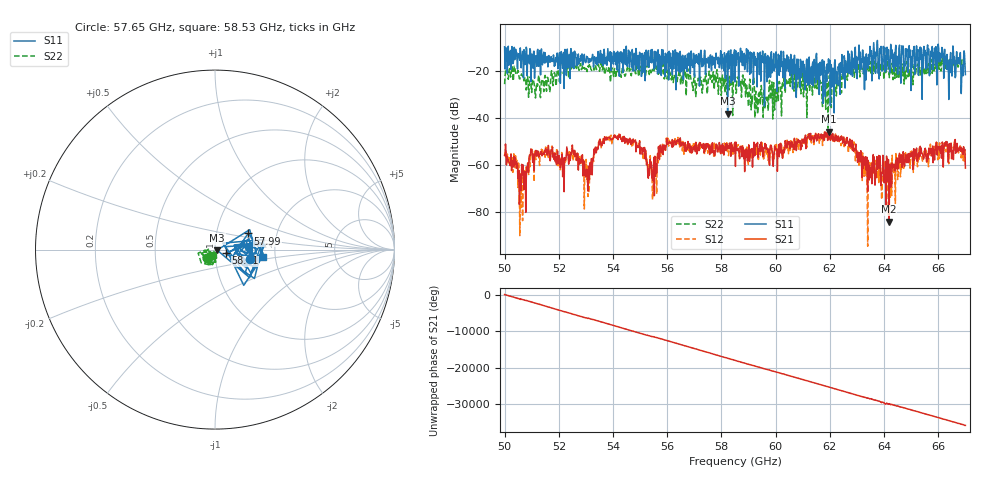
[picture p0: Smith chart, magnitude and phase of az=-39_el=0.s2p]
!Created with skrf (http://scikit-rf.org).
# GHz S RI R 50.0
!freq ReS11 ImS11 ReS21 ImS21 ReS12 ImS12 ReS22 ImS22
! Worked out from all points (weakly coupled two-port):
!   1001 points, 50 GHz to 67 GHz, reference 50 ohm
!   highest |S21| = -45.77 dB at 61.95 GHz (marker M1); lowest = -83.9 dB at 64.18 GHz (marker M2)
!   lowest |S11| = -38.1 dB at 58.23 GHz (marker M3), VSWR 1.03, Z = 51.2 - j0.29 ohm
!   |S11| at or under -10 dB: 50.8 GHz to 54.49 GHz (3.686 GHz wide, 7 % of centre); 54.49 GHz to 62.94 GHz (8.447 GHz wide, 14.4 % of centre); 66.01 GHz to 66.54 GHz (528.9 MHz wide, 0.798 % of centre) (the widest 3 of 29)
!   |S22| runs from -46.5 to -14.0 dB; largest |S21 - S12| = 0.0025
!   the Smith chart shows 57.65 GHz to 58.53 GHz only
!   S11 on the Smith chart (normalised r, x): 57.65 GHz: 1.48, -0.15; 57.99 GHz: 1.42, +0.27; 58.41 GHz: 1.13, -0.05; 58.53 GHz: 1.71, -0.15
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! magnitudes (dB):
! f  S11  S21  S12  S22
! 50 GHz  -9.7  -55.8  -55.9  -25.6
! 50.63 GHz  -13.5  -59.6  -65.4  -21.3
! 51.48 GHz  -14.5  -53.7  -54.3  -22.5
! 52.84 GHz  -13.1  -57.6  -55.9  -19.4
! 53.03 GHz  -13.8  -61.6  -66.2  -19.6
! 53.45 GHz  -11.7  -52.9  -52.0  -17.1
! 54.18 GHz  -12.2  -49.1  -48.9  -20.4
! 55.52 GHz  -11.7  -72.9  -59.0  -20.3
! 55.68 GHz  -13.7  -52.0  -57.6  -21.4
! 56.05 GHz  -23.8  -50.4  -51.9  -18.5
! 57.65 GHz  -13.9  -52.8  -54.4  -24.8
! 57.99 GHz  -13.7  -51.9  -51.6  -30.4
! 58.23 GHz  -38.1  -53.0  -52.9  -24.5
! 58.41 GHz  -24.0  -53.9  -54.4  -38.9
! 58.5 GHz  -24.7  -50.4  -49.7  -23.3
! 58.53 GHz  -11.4  -50.2  -52.1  -29.5
! 59.32 GHz  -26.7  -51.6  -51.6  -31.2
! 61.34 GHz  -25.6  -47.9  -47.4  -26.7
! 61.95 GHz  -14.9  -45.8  -46.9  -27.7
! 64.18 GHz  -18.2  -83.9  -83.0  -19.1
! 64.74 GHz  -16.1  -59.7  -57.1  -25.6
! 67 GHz  -21.5  -61.2  -55.6  -16.0
